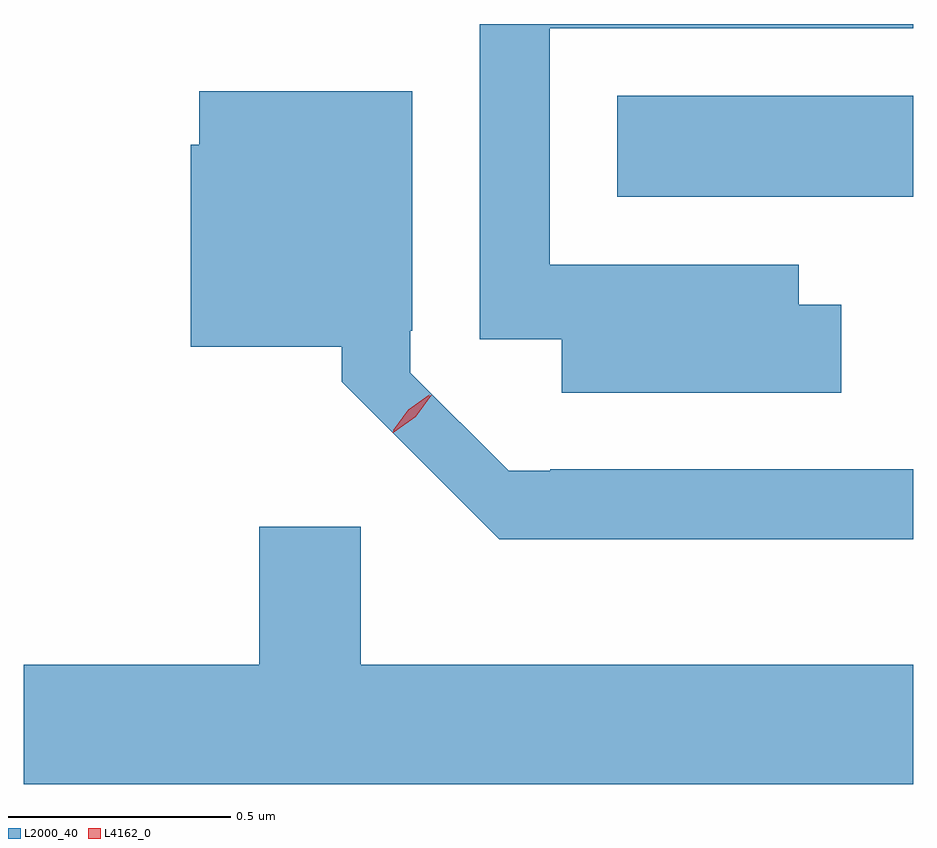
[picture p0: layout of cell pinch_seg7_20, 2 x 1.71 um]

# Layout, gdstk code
import gdstk
lib = gdstk.Library(unit=1e-6, precision=1e-09)
def R(c, l, rs):  # rectangles x0, y0, x1, y1
    for r in rs: c.add(gdstk.rectangle(r[:2], r[2:], *l))
def P(c, l, *ps):  # polygons
    for p in ps: c.add(gdstk.Polygon(p, *l))
L2000_40 = (2000, 40)
L4162_0 = (4162, 0)

pinch_seg7_20 = lib.new_cell('pinch_seg7_20')
R(pinch_seg7_20, L2000_40, [(825.616,1684.556,826.281,1684.784)])
P(pinch_seg7_20, L2000_40, [(826.119,1684.314),(826.024,1684.314),(826.024,1684.404),(825.464,1684.404),(825.464,1684.936),(826.281,1684.936),(826.281,1684.945),(825.306,1684.945),(825.306,1684.236),(825.491,1684.236),(825.491,1684.116),(826.119,1684.116)],
  [(826.281,1683.944),(825.465,1683.944),(825.465,1683.94),(825.371,1683.94),(825.15,1684.161),(825.15,1684.255),(825.154,1684.255),(825.154,1684.794),(824.676,1684.794),(824.676,1684.674),(824.656,1684.674),(824.656,1684.219),(824.996,1684.219),(824.996,1684.14),(825.35,1683.786),(826.281,1683.786)],
  [(826.281,1683.504),(825.039,1683.504),(825.039,1683.814),(824.811,1683.814),(824.811,1683.504),(824.281,1683.504),(824.281,1683.236),(826.281,1683.236)])
P(pinch_seg7_20, L4162_0, [(825.111,1684.026),(825.111,1684.027),(825.148,1684.076),(825.198,1684.111),(825.198,1684.111),(825.198,1684.111),(825.162,1684.062),(825.112,1684.026)],
  [(825.112,1684.031),(825.112,1684.032),(825.146,1684.078),(825.193,1684.111),(825.193,1684.111),(825.193,1684.11),(825.16,1684.064),(825.113,1684.031)])

lib.write_gds('pinch_seg7_20.gds')
